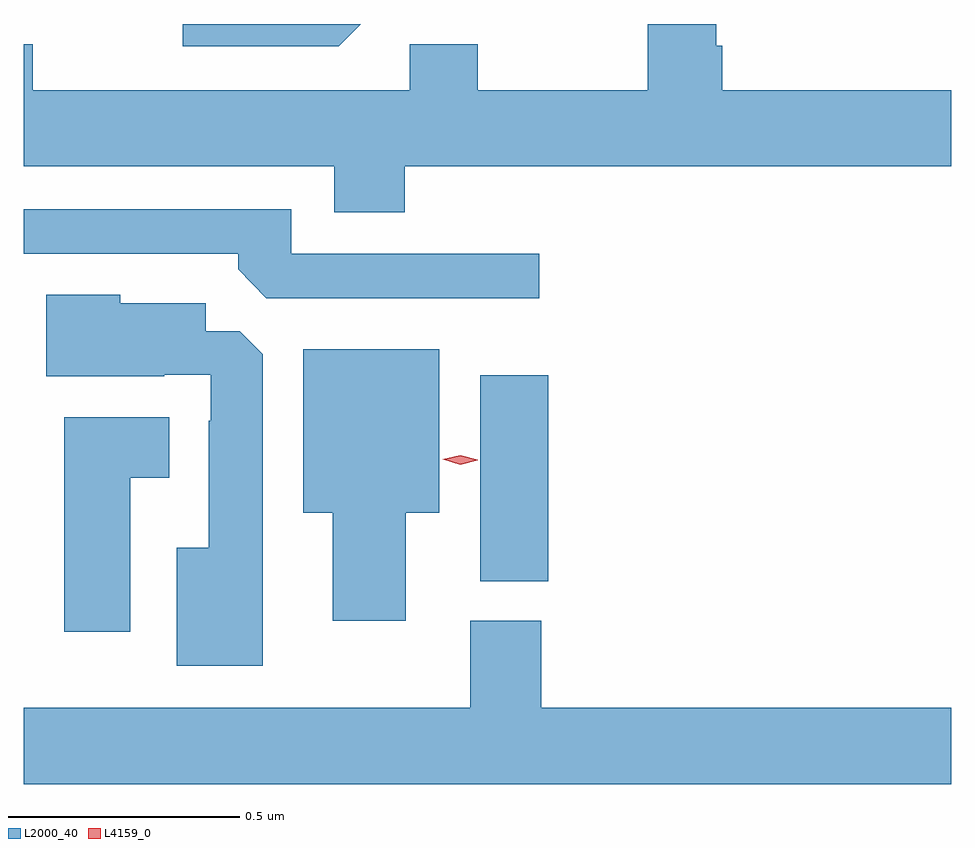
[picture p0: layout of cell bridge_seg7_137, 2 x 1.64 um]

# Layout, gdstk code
import gdstk
lib = gdstk.Library(unit=1e-6, precision=1e-09)
def R(c, l, rs):  # rectangles x0, y0, x1, y1
    for r in rs: c.add(gdstk.rectangle(r[:2], r[2:], *l))
def P(c, l, *ps):  # polygons
    for p in ps: c.add(gdstk.Polygon(p, *l))
L2000_40 = (2000, 40)
L4159_0 = (4159, 0)

bridge_seg7_137 = lib.new_cell('bridge_seg7_137')
R(bridge_seg7_137, L2000_40, [(739.22,1021.033,739.367,1021.477)])
P(bridge_seg7_137, L2000_40, [(739.058,1021.928),(740.236,1021.928),(740.236,1022.092),(739.742,1022.092),(739.742,1022.188),(739.729,1022.188),(739.729,1022.235),(739.582,1022.235),(739.582,1022.092),(739.215,1022.092),(739.215,1022.191),(739.068,1022.191),(739.068,1022.092),(738.255,1022.092),(738.255,1022.191),(738.236,1022.191),(738.236,1021.928),(738.905,1021.928),(738.905,1021.829),(739.058,1021.829)],
  [(738.963,1022.235),(738.579,1022.235),(738.579,1022.187),(738.915,1022.187)],
  [(739.348,1021.74),(738.813,1021.74),(738.813,1021.836),(738.236,1021.836),(738.236,1021.74),(738.698,1021.74),(738.698,1021.706),(738.759,1021.644),(739.348,1021.644)],
  [(738.751,1021.523),(738.702,1021.572),(738.628,1021.572),(738.628,1021.633),(738.444,1021.633),(738.444,1021.651),(738.284,1021.651),(738.284,1021.475),(738.539,1021.475),(738.539,1021.479),(738.639,1021.479),(738.639,1021.379),(738.635,1021.379),(738.635,1021.105),(738.566,1021.105),(738.566,1020.851),(738.751,1020.851)],
  [(739.06,1021.181),(739.132,1021.181),(739.132,1021.534),(738.839,1021.534),(738.839,1021.181),(738.902,1021.181),(738.902,1020.948),(739.06,1020.948)],
  [(738.466,1021.256),(738.55,1021.256),(738.55,1021.387),(738.323,1021.387),(738.323,1020.924),(738.466,1020.924)],
  [(740.236,1020.76),(739.352,1020.76),(739.352,1020.948),(739.199,1020.948),(739.199,1020.76),(738.236,1020.76),(738.236,1020.596),(740.236,1020.596)])
P(bridge_seg7_137, L4159_0, [(739.177,1021.285),(739.139,1021.296),(739.139,1021.296),(739.139,1021.296),(739.177,1021.305),(739.215,1021.295),(739.215,1021.294),(739.215,1021.294)])

lib.write_gds('bridge_seg7_137.gds')
